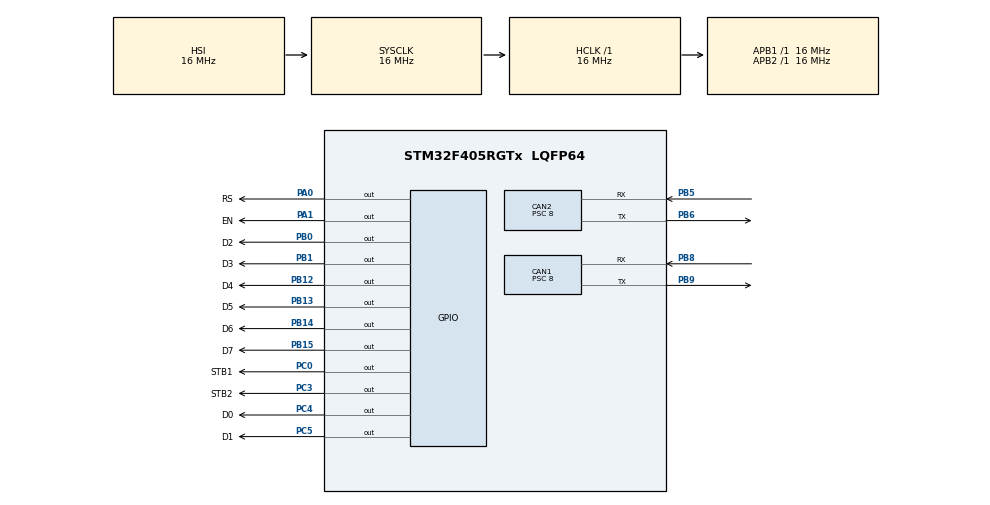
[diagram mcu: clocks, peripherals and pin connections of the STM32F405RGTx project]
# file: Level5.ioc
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CAN1.BS1=CAN_BS1_9TQ
CAN1.BS2=CAN_BS2_2TQ
CAN1.CalculateBaudRate=166666
CAN1.CalculateTimeBit=6000
CAN1.CalculateTimeQuantum=500.0
CAN1.Prescaler=8
CAN2.BS1=CAN_BS1_9TQ
CAN2.BS2=CAN_BS2_2TQ
CAN2.CalculateBaudRate=166666
CAN2.CalculateTimeBit=6000
CAN2.CalculateTimeQuantum=500.0
CAN2.Prescaler=8
Mcu.Family=STM32F4
Mcu.Name=STM32F405RGTx
Mcu.Package=LQFP64
NVIC.PriorityGroup=NVIC_PRIORITYGROUP_4
NVIC.TIM6_DAC_IRQn=true\:0\:0\:false\:false\:true\:true\:true\:true
PA0-WKUP.GPIO_Label=RS
PA0-WKUP.Signal=GPIO_Output
PA1.GPIO_Label=EN
PA1.Signal=GPIO_Output
PA13.Mode=Serial_Wire
PA13.Signal=SYS_JTMS-SWDIO
PA14.Mode=Serial_Wire
PA14.Signal=SYS_JTCK-SWCLK
PB0.GPIO_Label=D2
PB0.Signal=GPIO_Output
PB1.GPIO_Label=D3
PB1.Signal=GPIO_Output
PB12.GPIO_Label=D4
PB12.Signal=GPIO_Output
PB13.GPIO_Label=D5
PB13.Signal=GPIO_Output
PB14.GPIO_Label=D6
PB14.Signal=GPIO_Output
PB15.GPIO_Label=D7
PB15.Signal=GPIO_Output
PB5.Mode=CAN_Activate
PB5.Signal=CAN2_RX
PB6.Mode=CAN_Activate
PB6.Signal=CAN2_TX
PB8.Mode=CAN_Activate
PB8.Signal=CAN1_RX
PB9.Mode=CAN_Activate
PB9.Signal=CAN1_TX
PC0.GPIO_Label=STB1
PC0.Signal=GPIO_Output
PC14-OSC32_IN.Mode=LSE-External-Oscillator
PC14-OSC32_IN.Signal=RCC_OSC32_IN
PC15-OSC32_OUT.Mode=LSE-External-Oscillator
PC15-OSC32_OUT.Signal=RCC_OSC32_OUT
PC3.GPIO_Label=STB2
PC3.Signal=GPIO_Output
PC4.GPIO_Label=D0
PC4.Signal=GPIO_Output
PC5.GPIO_Label=D1
PC5.Signal=GPIO_Output
PH0-OSC_IN.Mode=HSE-External-Oscillator
PH0-OSC_IN.Signal=RCC_OSC_IN
PH1-OSC_OUT.Mode=HSE-External-Oscillator
PH1-OSC_OUT.Signal=RCC_OSC_OUT
ProjectManager.HeapSize=0x200
ProjectManager.StackSize=0x400
ProjectManager.TargetToolchain=STM32CubeIDE
RCC.48MHZClocksFreq_Value=48000000
RCC.AHBFreq_Value=16000000
RCC.APB1Freq_Value=16000000
RCC.APB2Freq_Value=16000000
RCC.CortexFreq_Value=16000000
RCC.HSE_VALUE=25000000
RCC.HSI_VALUE=16000000
RCC.SYSCLKFreq_VALUE=16000000
RCC.VCOOutputFreq_Value=192000000
TIM6.AutoReloadPreload=TIM_AUTORELOAD_PRELOAD_DISABLE
TIM6.Period=53333
TIM6.Prescaler=299
VP_TIM6_VS_ClockSourceINT.Mode=Enable_Timer
board=custom

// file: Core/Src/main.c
/* USER CODE BEGIN Header */
/**
  ******************************************************************************
  * @file           : main.c
  * @brief          : Main program body
  ******************************************************************************
  * @attention
  *
  * Copyright (c) 2024 STMicroelectronics.
  * All rights reserved.
  *
  * This software is licensed under terms that can be found in the LICENSE file
  * in the root directory of this software component.
  * If no LICENSE file comes with this software, it is provided AS-IS.
  *
  ******************************************************************************
  */
/* USER CODE END Header */
#include "main.h"

CAN_HandleTypeDef hcan1;
CAN_HandleTypeDef hcan2;

TIM_HandleTypeDef htim6;

/* USER CODE BEGIN PV */
CAN_TxHeaderTypeDef  p1header;
CAN_RxHeaderTypeDef  p2header;
uint32_t pTxMailbox = CAN_TX_MAILBOX0, RxFifo = CAN_RX_FIFO0;
CAN_FilterTypeDef  sFilterConfig;
uint8_t aData[8], received_data[8];
uint8_t can_data, Can_id;
/* USER CODE END PV */

void SystemClock_Config(void);
static void MX_GPIO_Init(void);
static void MX_CAN1_Init(void);
static void MX_CAN2_Init(void);
static void MX_TIM6_Init(void);
/* USER CODE BEGIN PFP */
void lcd_init();
void cmd(unsigned char C);
void data(unsigned char D);
void display(unsigned char *ptr);
void Time(unsigned char Value);
/* USER CODE END PFP */

int main(void)
{

  /* MCU Configuration--------------------------------------------------------*/

  /* Reset of all peripherals, Initializes the Flash interface and the Systick. */
  HAL_Init();

  /* Configure the system clock */
  SystemClock_Config();

  /* Initialize all configured peripherals */
  MX_GPIO_Init();
  MX_CAN1_Init();
  MX_CAN2_Init();
  MX_TIM6_Init();
  /* USER CODE BEGIN 2 */
	lcd_init();
	HAL_Delay(200);

	// Set Output pin STB1, STB2 as LOW
	HAL_GPIO_WritePin(GPIOC, STB1_Pin, GPIO_PIN_RESET);
	HAL_GPIO_WritePin(GPIOC, STB2_Pin, GPIO_PIN_RESET);

	// Data configuration
	aData[0] = 1;
	aData[1] = 0;
	aData[2] = 0;
	aData[3] = 0;
	aData[4] = 0;
	aData[5] = 0;
	aData[6] = 0;
	aData[7] = 0;

	// CAN Tx message header configuration
	p1header.DLC = 8;
	p1header.IDE = CAN_ID_STD;
	p1header.StdId = 0x001;
	p1header.RTR = CAN_RTR_DATA;

	// CAN Filter configuration
	sFilterConfig.FilterFIFOAssignment = CAN_FILTER_FIFO0;
	sFilterConfig.FilterIdHigh = 0x00C;
	sFilterConfig.FilterIdLow = 0x00A;
	sFilterConfig.FilterMaskIdHigh = 0;
	sFilterConfig.FilterMaskIdLow = 0;
	sFilterConfig.FilterScale = CAN_FILTERSCALE_32BIT;
	sFilterConfig.FilterActivation = ENABLE;
	HAL_CAN_ConfigFilter(&hcan1, &sFilterConfig);
	HAL_CAN_ConfigFilter(&hcan2, &sFilterConfig);

	// Start timer
	HAL_TIM_Base_Start_IT(&htim6);

	// Start CAN transmission
	HAL_CAN_Start(&hcan1);
	HAL_CAN_Start(&hcan2);

  /* USER CODE END 2 */

  /* Infinite loop */
  /* USER CODE BEGIN WHILE */
  while (1)
  {
	// CAN2 received message from CAN1
	HAL_CAN_GetRxMessage(&hcan2, CAN_RX_FIFO0, &p2header, received_data);
	Can_id = p1header.StdId;

	// LCD display received data
	cmd(0x80);
	display("LEVEL 5:");
	cmd(0xc0);
	display("MESSAGE NUM");
	cmd(0xcc);
	numeric(aData[0]);
    /* USER CODE END WHILE */

  }
}

void SystemClock_Config(void)
{
  RCC_OscInitTypeDef RCC_OscInitStruct = {0};
  RCC_ClkInitTypeDef RCC_ClkInitStruct = {0};

  /** Configure the main internal regulator output voltage
  */
  __HAL_RCC_PWR_CLK_ENABLE();
  __HAL_PWR_VOLTAGESCALING_CONFIG(PWR_REGULATOR_VOLTAGE_SCALE1);

  /** Initializes the RCC Oscillators according to the specified parameters
  * in the RCC_OscInitTypeDef structure.
  */
  RCC_OscInitStruct.OscillatorType = RCC_OSCILLATORTYPE_HSI;
  RCC_OscInitStruct.HSIState = RCC_HSI_ON;
  RCC_OscInitStruct.HSICalibrationValue = RCC_HSICALIBRATION_DEFAULT;
  RCC_OscInitStruct.PLL.PLLState = RCC_PLL_NONE;
  if (HAL_RCC_OscConfig(&RCC_OscInitStruct) != HAL_OK)
  {
    Error_Handler();
  }

  /** Initializes the CPU, AHB and APB buses clocks
  */
  RCC_ClkInitStruct.ClockType = RCC_CLOCKTYPE_HCLK|RCC_CLOCKTYPE_SYSCLK
                              |RCC_CLOCKTYPE_PCLK1|RCC_CLOCKTYPE_PCLK2;
  RCC_ClkInitStruct.SYSCLKSource = RCC_SYSCLKSOURCE_HSI;
  RCC_ClkInitStruct.AHBCLKDivider = RCC_SYSCLK_DIV1;
  RCC_ClkInitStruct.APB1CLKDivider = RCC_HCLK_DIV1;
  RCC_ClkInitStruct.APB2CLKDivider = RCC_HCLK_DIV1;

  if (HAL_RCC_ClockConfig(&RCC_ClkInitStruct, FLASH_LATENCY_0) != HAL_OK)
  {
    Error_Handler();
  }
}

static void MX_CAN1_Init(void)
{

  hcan1.Instance = CAN1;
  hcan1.Init.Prescaler = 8;
  hcan1.Init.Mode = CAN_MODE_NORMAL;
  hcan1.Init.SyncJumpWidth = CAN_SJW_1TQ;
  hcan1.Init.TimeSeg1 = CAN_BS1_9TQ;
  hcan1.Init.TimeSeg2 = CAN_BS2_2TQ;
  hcan1.Init.TimeTriggeredMode = DISABLE;
  hcan1.Init.AutoBusOff = DISABLE;
  hcan1.Init.AutoWakeUp = DISABLE;
  hcan1.Init.AutoRetransmission = DISABLE;
  hcan1.Init.ReceiveFifoLocked = DISABLE;
  hcan1.Init.TransmitFifoPriority = DISABLE;
  if (HAL_CAN_Init(&hcan1) != HAL_OK)
  {
    Error_Handler();
  }

}

static void MX_CAN2_Init(void)
{

  hcan2.Instance = CAN2;
  hcan2.Init.Prescaler = 8;
  hcan2.Init.Mode = CAN_MODE_NORMAL;
  hcan2.Init.SyncJumpWidth = CAN_SJW_1TQ;
  hcan2.Init.TimeSeg1 = CAN_BS1_9TQ;
  hcan2.Init.TimeSeg2 = CAN_BS2_2TQ;
  hcan2.Init.TimeTriggeredMode = DISABLE;
  hcan2.Init.AutoBusOff = DISABLE;
  hcan2.Init.AutoWakeUp = DISABLE;
  hcan2.Init.AutoRetransmission = DISABLE;
  hcan2.Init.ReceiveFifoLocked = DISABLE;
  hcan2.Init.TransmitFifoPriority = DISABLE;
  if (HAL_CAN_Init(&hcan2) != HAL_OK)
  {
    Error_Handler();
  }

}

static void MX_TIM6_Init(void)
{

  TIM_MasterConfigTypeDef sMasterConfig = {0};

  htim6.Instance = TIM6;
  htim6.Init.Prescaler = 299;
  htim6.Init.CounterMode = TIM_COUNTERMODE_UP;
  htim6.Init.Period = 53333;
  htim6.Init.AutoReloadPreload = TIM_AUTORELOAD_PRELOAD_DISABLE;
  if (HAL_TIM_Base_Init(&htim6) != HAL_OK)
  {
    Error_Handler();
  }
  sMasterConfig.MasterOutputTrigger = TIM_TRGO_RESET;
  sMasterConfig.MasterSlaveMode = TIM_MASTERSLAVEMODE_DISABLE;
  if (HAL_TIMEx_MasterConfigSynchronization(&htim6, &sMasterConfig) != HAL_OK)
  {
    Error_Handler();
  }

}

static void MX_GPIO_Init(void)
{
  GPIO_InitTypeDef GPIO_InitStruct = {0};

  /* GPIO Ports Clock Enable */
  __HAL_RCC_GPIOC_CLK_ENABLE();
  __HAL_RCC_GPIOH_CLK_ENABLE();
  __HAL_RCC_GPIOA_CLK_ENABLE();
  __HAL_RCC_GPIOB_CLK_ENABLE();

  /*Configure GPIO pin Output Level */
  HAL_GPIO_WritePin(GPIOC, STB1_Pin|STB2_Pin|D0_Pin|D1_Pin, GPIO_PIN_RESET);

  /*Configure GPIO pin Output Level */
  HAL_GPIO_WritePin(GPIOA, RS_Pin|EN_Pin, GPIO_PIN_RESET);

  /*Configure GPIO pin Output Level */
  HAL_GPIO_WritePin(GPIOB, D2_Pin|D3_Pin|D4_Pin|D5_Pin
                          |D6_Pin|D7_Pin, GPIO_PIN_RESET);

  /*Configure GPIO pins : STB1_Pin STB2_Pin D0_Pin D1_Pin */
  GPIO_InitStruct.Pin = STB1_Pin|STB2_Pin|D0_Pin|D1_Pin;
  GPIO_InitStruct.Mode = GPIO_MODE_OUTPUT_PP;
  GPIO_InitStruct.Pull = GPIO_NOPULL;
  GPIO_InitStruct.Speed = GPIO_SPEED_FREQ_LOW;
  HAL_GPIO_Init(GPIOC, &GPIO_InitStruct);

  /*Configure GPIO pins : RS_Pin EN_Pin */
  GPIO_InitStruct.Pin = RS_Pin|EN_Pin;
  GPIO_InitStruct.Mode = GPIO_MODE_OUTPUT_PP;
  GPIO_InitStruct.Pull = GPIO_NOPULL;
  GPIO_InitStruct.Speed = GPIO_SPEED_FREQ_LOW;
  HAL_GPIO_Init(GPIOA, &GPIO_InitStruct);

  /*Configure GPIO pins : D2_Pin D3_Pin D4_Pin D5_Pin
                           D6_Pin D7_Pin */
  GPIO_InitStruct.Pin = D2_Pin|D3_Pin|D4_Pin|D5_Pin
                          |D6_Pin|D7_Pin;
  GPIO_InitStruct.Mode = GPIO_MODE_OUTPUT_PP;
  GPIO_InitStruct.Pull = GPIO_NOPULL;
  GPIO_InitStruct.Speed = GPIO_SPEED_FREQ_LOW;
  HAL_GPIO_Init(GPIOB, &GPIO_InitStruct);

}

/* USER CODE BEGIN 4 */

// Interrupt handling function
void HAL_TIM_PeriodElapsedCallback(TIM_HandleTypeDef *htim)
{
	if (htim == &htim6)
	{
		HAL_CAN_AddTxMessage(&hcan1, &p1header, aData, &pTxMailbox);
		aData[0]++;
	}
}

void lcd_init()
{
	HAL_Delay(10);
	cmd(0x01);
	cmd(0x38);
	cmd(0x06);
	cmd(0x0C);
	HAL_Delay(10);
}

void cmd(unsigned char C)
{
	HAL_GPIO_WritePin(GPIOA, RS_Pin, 0);
	HAL_GPIO_WritePin(GPIOC, D0_Pin,(C&0X01));
	HAL_GPIO_WritePin(GPIOC, D1_Pin,(C&0X02));
	HAL_GPIO_WritePin(GPIOB, D2_Pin,(C&0X04));
	HAL_GPIO_WritePin(GPIOB, D3_Pin,(C&0X08));
	HAL_GPIO_WritePin(GPIOB, D4_Pin,(C&0X10));
	HAL_GPIO_WritePin(GPIOB, D5_Pin,(C&0X20));
	HAL_GPIO_WritePin(GPIOB, D6_Pin,(C&0X40));
	HAL_GPIO_WritePin(GPIOB, D7_Pin,(C&0X80));
	HAL_GPIO_WritePin(GPIOA, EN_Pin, 1);
	HAL_Delay(5);
	HAL_GPIO_WritePin(GPIOA, EN_Pin, 0);
	HAL_Delay(5);
}

void data (unsigned char D)
{
	HAL_GPIO_WritePin(GPIOA, RS_Pin, 1);
	HAL_GPIO_WritePin(GPIOC, D0_Pin,(D&0X01));
	HAL_GPIO_WritePin(GPIOC, D1_Pin,(D&0X02));
	HAL_GPIO_WritePin(GPIOB, D2_Pin,(D&0X04));
	HAL_GPIO_WritePin(GPIOB, D3_Pin,(D&0X08));
	HAL_GPIO_WritePin(GPIOB, D4_Pin,(D&0X10));
	HAL_GPIO_WritePin(GPIOB, D5_Pin,(D&0X20));
	HAL_GPIO_WritePin(GPIOB, D6_Pin,(D&0X40));
	HAL_GPIO_WritePin(GPIOB, D7_Pin,(D&0X80));
	HAL_GPIO_WritePin(GPIOA, EN_Pin, 1);
	HAL_Delay(5);
	HAL_GPIO_WritePin(GPIOA, EN_Pin, 0);
	HAL_Delay(5);
}

void display(unsigned char *ptr)
{
	while(*ptr!='\0')
	{
	data(*ptr++);
	HAL_Delay(2);
	}
}

void numeric(unsigned int value)
{
	data(((value%100)/10)+0x30);
	data((value%10)+0x30);
}

/* USER CODE END 4 */

void Error_Handler(void)
{
  __disable_irq();
  while (1)
  {
  }
}
